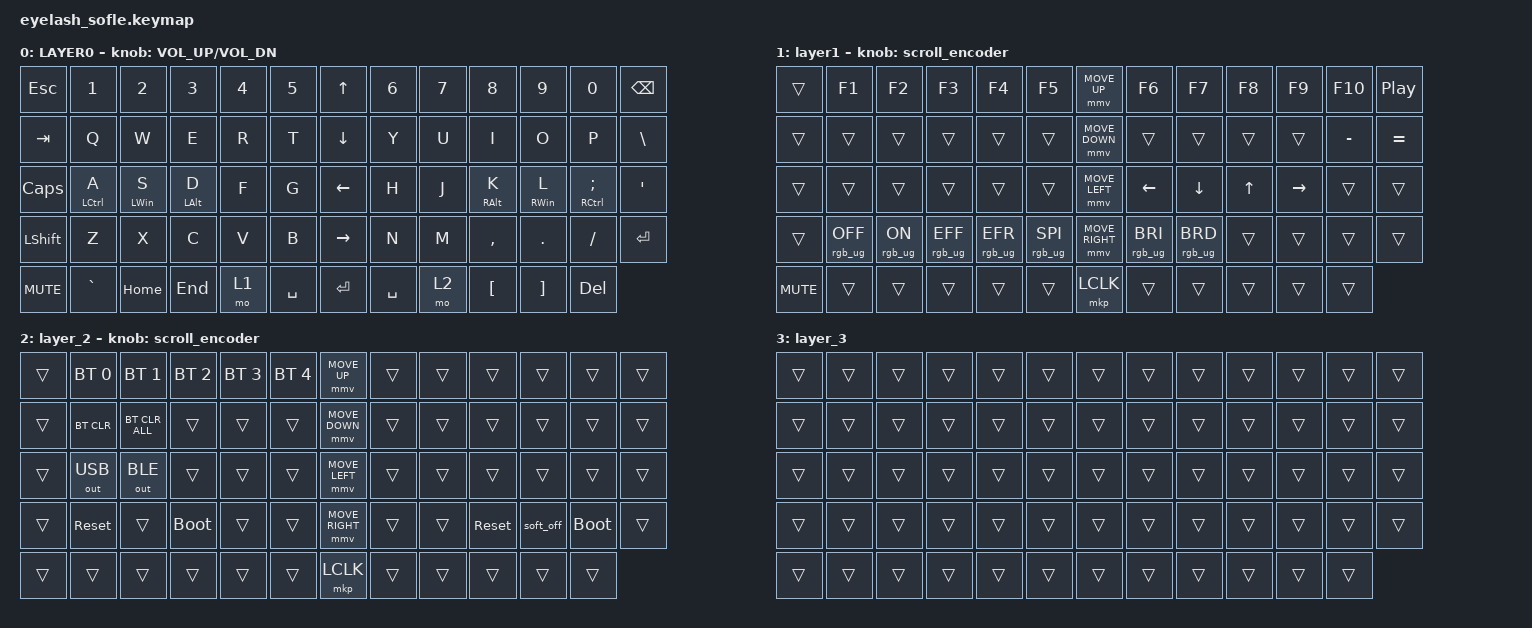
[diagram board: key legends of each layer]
#define ZMK_POINTING_DEFAULT_MOVE_VAL 1200  // 600
#define ZMK_POINTING_DEFAULT_SCRL_VAL 25   // 10

#include <input/processors.dtsi>
#include <zephyr/dt-bindings/input/input-event-codes.h>
#include <behaviors.dtsi>
#include <dt-bindings/zmk/bt.h>
#include <dt-bindings/zmk/keys.h>
#include <dt-bindings/zmk/outputs.h>
#include <dt-bindings/zmk/pointing.h>
#include <dt-bindings/zmk/rgb.h>

&mmv_input_listener { input-processors = <&zip_xy_scaler 2 1>; };

&msc_input_listener { input-processors = <&zip_scroll_scaler 2 1>; };

&msc {
    acceleration-exponent = <1>;      // 0
    time-to-max-speed-ms = <100>;       // 300
    delay-ms = <0>;                   // 0
};

&mmv {
    time-to-max-speed-ms = <500>;
    acceleration-exponent = <1>;
    trigger-period-ms = <16>;
};

/ {
    scroll_encoder: scroll_encoder {
        compatible = "zmk,behavior-sensor-rotate";
        #sensor-binding-cells = <0>;
        bindings = <&msc SCRL_DOWN>, <&msc SCRL_UP>;

        tap-ms = <100>;
    };

    HMR: HMR {
        compatible = "zmk,behavior-hold-tap";
        label = "HMR";
        bindings = <&kp>, <&kp>;

        #binding-cells = <2>;
        tapping-term-ms = <280>;
        quick-tap-ms = <175>;
        flavor = "tap-preferred";
        hold-trigger-on-release;
        hold-trigger-key-positions = <0 1 13 14 15 16 17 18 26 27 28 29 30 31 39 40 41 42 43 44 53 54 55 56 1 2 3 4 5 15 16 17 18 57 59 60 52>;
    };

    HML: HML {
        compatible = "zmk,behavior-hold-tap";
        label = "HML";
        bindings = <&kp>, <&kp>;

        #binding-cells = <2>;
        tapping-term-ms = <200>;
        quick-tap-ms = <175>;
        flavor = "tap-preferred";
        hold-trigger-on-release;
        hold-trigger-key-positions = <7 8 9 10 11 12 20 21 22 23 24 25 33 34 35 36 37 38 46 47 48 49 50 51 59 60 61 62 63 56 57>;
    };

    behaviors {
    };

    keymap {
        compatible = "zmk,keymap";

        layer0 {
            bindings = <
&kp ESC     &kp N1               &kp N2           &kp N3           &kp N4  &kp N5       &kp UP_ARROW     &kp N6     &kp N7  &kp N8            &kp N9             &kp N0                   &kp BACKSPACE
&kp TAB     &kp Q                &kp W            &kp E            &kp R   &kp T        &kp DOWN_ARROW   &kp Y      &kp U   &kp I             &kp O              &kp P                    &kp BSLH
&kp CAPS    &HML LEFT_CONTROL A  &HML LEFT_WIN S  &HML LEFT_ALT D  &kp F   &kp G        &kp LEFT_ARROW   &kp H      &kp J   &HMR RIGHT_ALT K  &HMR RIGHT_WIN L   &HMR RIGHT_CONTROL SEMI  &kp APOS
&kp LSHFT   &kp Z                &kp X            &kp C            &kp V   &kp B        &kp RIGHT_ARROW  &kp N      &kp M   &kp COMMA         &kp DOT            &kp FSLH                 &kp ENTER
&kp C_MUTE  &kp GRAVE            &kp HOME         &kp END          &mo 1   &kp SPACE    &kp ENTER        &kp SPACE  &mo 2   &kp LEFT_BRACKET  &kp RIGHT_BRACKET  &kp DELETE
            >;

            sensor-bindings = <&inc_dec_kp C_VOLUME_UP C_VOL_DN>;
            display-name = "LAYER0";
        };

        layer_1 {
            bindings = <
&trans      &kp F1           &kp F2          &kp F3           &kp F4           &kp F5             &mmv MOVE_UP     &kp F6           &kp F7           &kp F8        &kp F9           &kp F10    &kp C_PLAY_PAUSE
&trans      &trans           &trans          &trans           &trans           &trans             &mmv MOVE_DOWN   &trans           &trans           &trans        &trans           &kp MINUS  &kp EQUAL
&trans      &trans           &trans          &trans           &trans           &trans             &mmv MOVE_LEFT   &kp LEFT_ARROW   &kp DOWN_ARROW   &kp UP_ARROW  &kp RIGHT_ARROW  &trans     &trans
&trans      &rgb_ug RGB_OFF  &rgb_ug RGB_ON  &rgb_ug RGB_EFF  &rgb_ug RGB_EFR  &rgb_ug RGB_SPI    &mmv MOVE_RIGHT  &rgb_ug RGB_BRI  &rgb_ug RGB_BRD  &trans        &trans           &trans     &trans
&kp C_MUTE  &trans           &trans          &trans           &trans           &trans             &mkp LCLK        &trans           &trans           &trans        &trans           &trans
            >;

            display-name = "layer1";
            sensor-bindings = <&scroll_encoder>;
        };

        layer_2 {
            bindings = <
&trans  &bt BT_SEL 0  &bt BT_SEL 1    &bt BT_SEL 2  &bt BT_SEL 3  &bt BT_SEL 4    &mmv MOVE_UP     &trans  &trans  &trans      &trans     &trans       &trans
&trans  &bt BT_CLR    &bt BT_CLR_ALL  &trans        &trans        &trans          &mmv MOVE_DOWN   &trans  &trans  &trans      &trans     &trans       &trans
&trans  &out OUT_USB  &out OUT_BLE    &trans        &trans        &trans          &mmv MOVE_LEFT   &trans  &trans  &trans      &trans     &trans       &trans
&trans  &sys_reset    &trans          &bootloader   &trans        &trans          &mmv MOVE_RIGHT  &trans  &trans  &sys_reset  &soft_off  &bootloader  &trans
&trans  &trans        &trans          &trans        &trans        &trans          &mkp LCLK        &trans  &trans  &trans      &trans     &trans
            >;

            sensor-bindings = <&scroll_encoder>;
        };

        layer_3 {
            bindings = <
&trans  &trans  &trans  &trans  &trans  &trans    &trans  &trans  &trans  &trans  &trans  &trans  &trans
&trans  &trans  &trans  &trans  &trans  &trans    &trans  &trans  &trans  &trans  &trans  &trans  &trans
&trans  &trans  &trans  &trans  &trans  &trans    &trans  &trans  &trans  &trans  &trans  &trans  &trans
&trans  &trans  &trans  &trans  &trans  &trans    &trans  &trans  &trans  &trans  &trans  &trans  &trans
&trans  &trans  &trans  &trans  &trans  &trans    &trans  &trans  &trans  &trans  &trans  &trans
            >;
        };
    };
};
